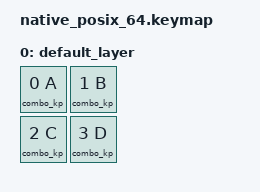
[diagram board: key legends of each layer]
#include <dt-bindings/zmk/keys.h>
#include <behaviors.dtsi>
#include <dt-bindings/zmk/kscan_mock.h>

/*
 * This tests how multiple combos being pressed simultaneously interact
 * Current expected behavior is that only one combo can be triggered at once
 * Hence, interwoven key presses should output all 4 individual key presses
 * Pressing combo 2 between combo 1's keys should result in a combo 1 key, then combo2, then the other combo1 key
 * Pressing one combo directly after the other should result in both being output one after the other
 */

/ {
    combos {
        compatible = "zmk,combos";
        combo_one {
            timeout-ms = <30>;
            triggers = <0 1>;
            bindings = <&kp X>;
        };

        combo_two {
            timeout-ms = <30>;
            triggers = <2 3>;
            bindings = <&kp Y>;
        };
    };

    keymap {
        compatible = "zmk,keymap";

        default_layer {
            bindings = <
                &combo_kp 0 A &combo_kp 1 B
                &combo_kp 2 C &combo_kp 3 D
            >;
        };
    };
};

&kscan {
    events = <
        /* interwoven combo key presses */
        ZMK_MOCK_PRESS(0,0,10)
        ZMK_MOCK_PRESS(1,0,10)
        ZMK_MOCK_PRESS(0,1,10)
        ZMK_MOCK_PRESS(1,1,10)
        ZMK_MOCK_RELEASE(0,0,10)
        ZMK_MOCK_RELEASE(0,1,10)
        ZMK_MOCK_RELEASE(1,0,10)
        ZMK_MOCK_RELEASE(1,1,10)

        /* combo 2 between combo 1 presses */
        ZMK_MOCK_PRESS(0,0,10)
        ZMK_MOCK_PRESS(1,0,10)
        ZMK_MOCK_PRESS(1,1,10)
        ZMK_MOCK_PRESS(0,1,10)
        ZMK_MOCK_RELEASE(0,0,10)
        ZMK_MOCK_RELEASE(0,1,10)
        ZMK_MOCK_RELEASE(1,0,10)
        ZMK_MOCK_RELEASE(1,1,10)

        /* combo 2 after combo 1 */
        ZMK_MOCK_PRESS(0,0,10)
        ZMK_MOCK_PRESS(0,1,10)
        ZMK_MOCK_PRESS(1,0,10)
        ZMK_MOCK_PRESS(1,1,10)
        ZMK_MOCK_RELEASE(0,0,10)
        ZMK_MOCK_RELEASE(0,1,10)
        ZMK_MOCK_RELEASE(1,0,10)
        ZMK_MOCK_RELEASE(1,1,10)
    >;
};
